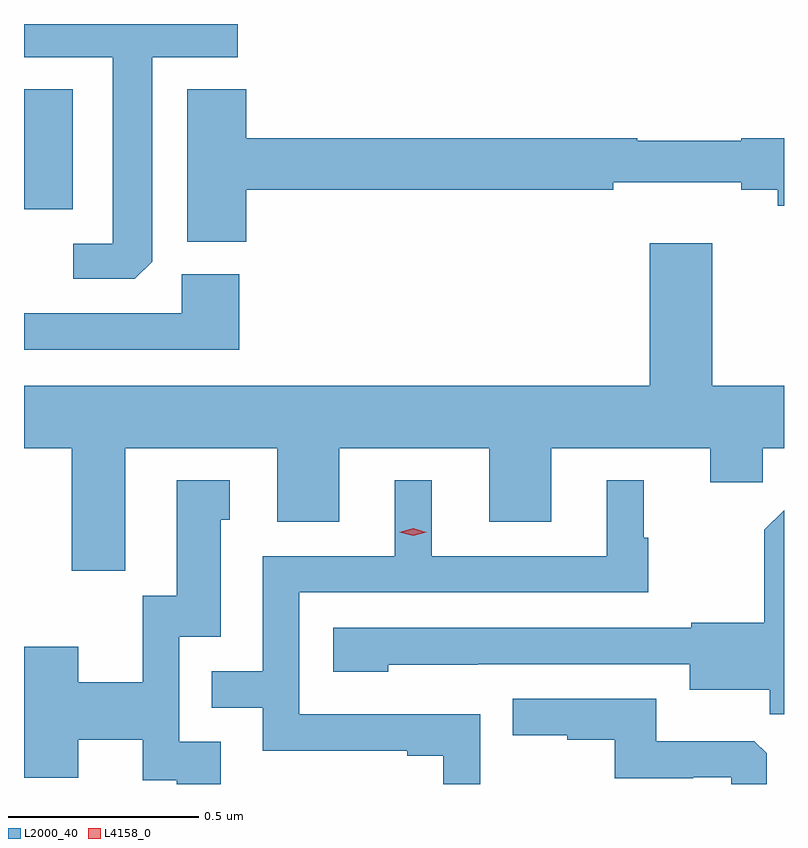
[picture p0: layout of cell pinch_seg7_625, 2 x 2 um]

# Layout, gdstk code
import gdstk
lib = gdstk.Library(unit=1e-6, precision=1e-09)
def R(c, l, rs):  # rectangles x0, y0, x1, y1
    for r in rs: c.add(gdstk.rectangle(r[:2], r[2:], *l))
def P(c, l, *ps):  # polygons
    for p in ps: c.add(gdstk.Polygon(p, *l))
L2000_40 = (2000, 40)
L4158_0 = (4158, 0)

pinch_seg7_625 = lib.new_cell('pinch_seg7_625')
R(pinch_seg7_625, L2000_40, [(211.313,1050.528,211.441,1050.844)])
P(pinch_seg7_625, L2000_40, [(211.65,1050.391),(211.65,1050.502),(211.651,1050.502),(211.651,1050.929),(211.876,1050.929),(211.876,1051.016),(211.313,1051.016),(211.313,1050.929),(211.547,1050.929),(211.547,1050.438),(211.443,1050.438),(211.443,1050.345),(211.604,1050.345)],
  [(211.898,1050.58),(212.864,1050.58),(212.864,1050.599),(213.2,1050.599),(213.2,1050.58),(213.296,1050.58),(213.296,1050.538),(213.313,1050.538),(213.313,1050.716),(213.2,1050.716),(213.2,1050.709),(212.927,1050.709),(212.927,1050.716),(211.898,1050.716),(211.898,1050.844),(211.742,1050.844),(211.742,1050.443),(211.898,1050.443)],
  [(211.579,1049.9),(211.979,1049.9),(211.979,1049.706),(212.143,1049.706),(212.143,1049.9),(212.537,1049.9),(212.537,1049.706),(212.701,1049.706),(212.701,1049.9),(213.119,1049.9),(213.119,1049.81),(213.257,1049.81),(213.257,1049.9),(213.313,1049.9),(213.313,1050.064),(213.124,1050.064),(213.124,1050.439),(212.96,1050.439),(212.96,1050.064),(211.313,1050.064),(211.313,1049.9),(211.439,1049.9),(211.439,1049.577),(211.579,1049.577)],
  [(211.88,1050.358),(211.728,1050.358),(211.728,1050.255),(211.313,1050.255),(211.313,1050.159),(211.88,1050.159)],
  [(212.514,1049.199),(212.037,1049.199),(212.037,1049.52),(212.956,1049.52),(212.956,1049.664),(212.944,1049.664),(212.944,1049.815),(212.846,1049.815),(212.846,1049.616),(212.386,1049.616),(212.386,1049.815),(212.288,1049.815),(212.288,1049.616),(211.941,1049.616),(211.941,1049.313),(211.807,1049.313),(211.807,1049.217),(211.941,1049.217),(211.941,1049.103),(212.321,1049.103),(212.321,1049.091),(212.416,1049.091),(212.416,1049.016),(212.514,1049.016)],
  [(211.831,1049.127),(211.722,1049.127),(211.722,1049.403),(211.831,1049.403),(211.831,1049.712),(211.855,1049.712),(211.855,1049.815),(211.715,1049.815),(211.715,1049.511),(211.626,1049.511),(211.626,1049.284),(211.456,1049.284),(211.456,1049.377),(211.313,1049.377),(211.313,1049.033),(211.456,1049.033),(211.456,1049.132),(211.625,1049.132),(211.625,1049.026),(211.715,1049.026),(211.715,1049.016),(211.831,1049.016)],
  [(213.313,1049.737),(213.261,1049.685),(213.261,1049.44),(213.069,1049.44),(213.069,1049.427),(212.127,1049.427),(212.127,1049.312),(212.271,1049.312),(212.271,1049.33),(212.507,1049.33),(212.507,1049.331),(213.065,1049.331),(213.065,1049.264),(213.276,1049.264),(213.276,1049.2),(213.313,1049.2)],
  [(213.267,1049.097),(213.235,1049.129),(212.977,1049.129),(212.977,1049.241),(212.599,1049.241),(212.599,1049.144),(212.743,1049.144),(212.743,1049.133),(212.867,1049.133),(212.867,1049.031),(213.074,1049.031),(213.074,1049.034),(213.174,1049.034),(213.174,1049.016),(213.267,1049.016)])
P(pinch_seg7_625, L4158_0, [(212.337,1049.669),(212.301,1049.678),(212.301,1049.679),(212.301,1049.679),(212.337,1049.689),(212.372,1049.679),(212.373,1049.679),(212.372,1049.678)])

lib.write_gds('pinch_seg7_625.gds')
